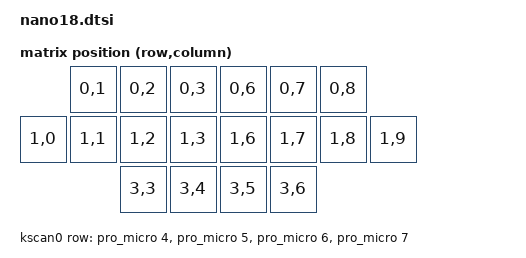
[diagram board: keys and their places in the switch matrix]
/*
 * Copyright (c) 2020 Pete Johanson
 *
 * SPDX-License-Identifier: MIT
 */

#include <dt-bindings/zmk/matrix_transform.h>

/ {
	chosen {
		zmk,kscan = &kscan0;
		zmk,matrix-transform = &default_transform;
 		// zephyr,display = &oled;
	};

	default_transform: keymap_transform_0 {
		compatible = "zmk,matrix-transform";
		columns = <10>;
		rows = <4>;
//       SW1  SW2  SW3     SW3  SW2  SW1
//  SW4  SW5  SW6  SW7     SW7  SW6  SW5  SW4
//            SW8  SW9     SW9  SW8
		map = <
				 RC(0,1)  RC(0,2)  RC(0,3)  	                  RC(0,6)  RC(0,7)  RC(0,8)
RC(1,0)  RC(1,1)  RC(1,2)  RC(1,3)		                  RC(1,6)  RC(1,7)  RC(1,8)  RC(1,9)
									         RC(3,3)  RC(3,4)    RC(3,5)  RC(3,6)
		>;
	};

	kscan0: kscan {
		compatible = "zmk,kscan-gpio-matrix";
		label = "KSCAN";
		wakeup-source;
		diode-direction = "col2row";
		row-gpios
			=	<&pro_micro 4 (GPIO_ACTIVE_HIGH | GPIO_PULL_DOWN)>
			, <&pro_micro 5 (GPIO_ACTIVE_HIGH | GPIO_PULL_DOWN)>
			, <&pro_micro 6 (GPIO_ACTIVE_HIGH | GPIO_PULL_DOWN)>
			, <&pro_micro 7 (GPIO_ACTIVE_HIGH | GPIO_PULL_DOWN)>
			;
		
	};

};
